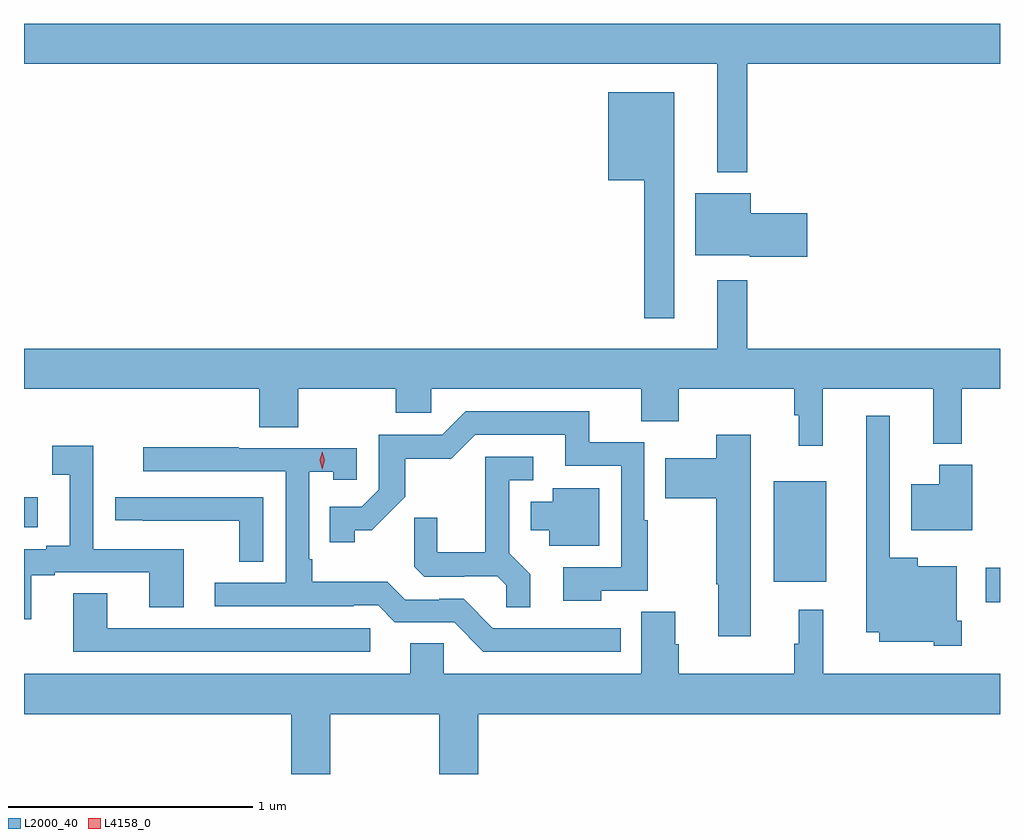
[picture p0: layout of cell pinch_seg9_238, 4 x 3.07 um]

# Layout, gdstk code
import gdstk
lib = gdstk.Library(unit=1e-6, precision=1e-09)
def R(c, l, rs):  # rectangles x0, y0, x1, y1
    for r in rs: c.add(gdstk.rectangle(r[:2], r[2:], *l))
def P(c, l, *ps):  # polygons
    for p in ps: c.add(gdstk.Polygon(p, *l))
L2000_40 = (2000, 40)
L4158_0 = (4158, 0)

pinch_seg9_238 = lib.new_cell('pinch_seg9_238')
R(pinch_seg9_238, L2000_40, [(416.64,1242.166,416.699,1242.308), (415.772,1242.251,415.987,1242.661), (412.699,1242.473,412.756,1242.597)])
P(pinch_seg9_238, L2000_40, [(415.663,1244.372),(416.699,1244.372),(416.699,1244.536),(412.699,1244.536),(412.699,1244.372),(415.541,1244.372),(415.541,1243.928),(415.663,1243.928)],
  [(415.363,1244.257),(415.094,1244.257),(415.094,1243.895),(415.242,1243.895),(415.242,1243.329),(415.363,1243.329)],
  [(415.909,1243.76),(415.678,1243.76),(415.678,1243.843),(415.451,1243.843),(415.451,1243.589),(415.674,1243.589),(415.674,1243.582),(415.909,1243.582)],
  [(415.973,1243.04),(416.426,1243.04),(416.426,1242.815),(416.543,1242.815),(416.543,1243.04),(416.699,1243.04),(416.699,1243.204),(415.663,1243.204),(415.663,1243.486),(415.541,1243.486),(415.541,1243.204),(412.699,1243.204),(412.699,1243.04),(413.663,1243.04),(413.663,1242.883),(413.823,1242.883),(413.823,1243.04),(414.223,1243.04),(414.223,1242.942),(414.369,1242.942),(414.369,1243.04),(415.229,1243.04),(415.229,1242.907),(415.382,1242.907),(415.382,1243.04),(415.855,1243.04),(415.855,1242.932),(415.874,1242.932),(415.874,1242.807),(415.973,1242.807)],
  [(415.065,1242.213),(415.255,1242.213),(415.255,1242.503),(415.242,1242.503),(415.242,1242.822),(415.016,1242.822),(415.016,1242.948),(414.51,1242.948),(414.414,1242.852),(414.153,1242.852),(414.153,1242.627),(414.084,1242.558),(413.953,1242.558),(413.953,1242.411),(414.054,1242.411),(414.054,1242.461),(414.124,1242.461),(414.262,1242.598),(414.262,1242.754),(414.451,1242.754),(414.549,1242.852),(414.917,1242.852),(414.917,1242.726),(415.146,1242.726),(415.146,1242.309),(414.909,1242.309),(414.909,1242.173),(415.065,1242.173)],
  [(416.543,1242.091),(416.521,1242.091),(416.521,1242.313),(416.362,1242.313),(416.362,1242.349),(416.247,1242.349),(416.247,1242.931),(416.15,1242.931),(416.15,1242.044),(416.204,1242.044),(416.204,1242.005),(416.427,1242.005),(416.427,1241.987),(416.543,1241.987)],
  [(415.678,1242.853),(415.537,1242.853),(415.537,1242.757),(415.327,1242.757),(415.327,1242.592),(415.537,1242.592),(415.537,1242.239),(415.544,1242.239),(415.544,1242.027),(415.678,1242.027)],
  [(412.729,1242.276),(412.825,1242.276),(412.825,1242.288),(413.213,1242.288),(413.213,1242.145),(413.353,1242.145),(413.353,1242.384),(412.983,1242.384),(412.983,1242.808),(412.815,1242.808),(412.815,1242.688),(412.886,1242.688),(412.886,1242.397),(412.79,1242.397),(412.79,1242.384),(412.699,1242.384),(412.699,1242.096),(412.729,1242.096)],
  [(415.144,1242.06),(414.621,1242.06),(414.501,1242.18),(414.4,1242.18),(414.4,1242.177),(414.261,1242.177),(414.188,1242.25),(413.881,1242.25),(413.881,1242.343),(413.868,1242.343),(413.868,1242.701),(413.967,1242.701),(413.967,1242.669),(414.063,1242.669),(414.063,1242.798),(413.579,1242.798),(413.579,1242.801),(413.187,1242.801),(413.187,1242.702),(413.772,1242.702),(413.772,1242.246),(413.481,1242.246),(413.481,1242.15),(414.05,1242.15),(414.05,1242.153),(414.15,1242.153),(414.219,1242.084),(414.462,1242.084),(414.582,1241.964),(415.144,1241.964)],
  [(414.773,1242.281),(414.687,1242.367),(414.687,1242.666),(414.787,1242.666),(414.787,1242.762),(414.59,1242.762),(414.59,1242.37),(414.392,1242.37),(414.392,1242.513),(414.298,1242.513),(414.298,1242.311),(414.339,1242.27),(414.504,1242.27),(414.504,1242.273),(414.638,1242.273),(414.675,1242.236),(414.675,1242.145),(414.773,1242.145)],
  [(416.585,1242.73),(416.45,1242.73),(416.45,1242.649),(416.336,1242.649),(416.336,1242.461),(416.585,1242.461)],
  [(415.057,1242.634),(414.866,1242.634),(414.866,1242.577),(414.776,1242.577),(414.776,1242.461),(414.851,1242.461),(414.851,1242.398),(415.057,1242.398)],
  [(413.679,1242.597),(413.073,1242.597),(413.073,1242.502),(413.185,1242.502),(413.185,1242.501),(413.581,1242.501),(413.581,1242.331),(413.679,1242.331)],
  [(414.118,1242.06),(413.041,1242.06),(413.041,1242.203),(412.901,1242.203),(412.901,1241.964),(414.118,1241.964)],
  [(416.699,1241.872),(415.974,1241.872),(415.974,1242.136),(415.874,1242.136),(415.874,1241.996),(415.855,1241.996),(415.855,1241.872),(415.382,1241.872),(415.382,1241.994),(415.369,1241.994),(415.369,1242.128),(415.229,1242.128),(415.229,1241.872),(414.42,1241.872),(414.42,1241.999),(414.281,1241.999),(414.281,1241.872),(412.699,1241.872),(412.699,1241.708),(413.795,1241.708),(413.795,1241.462),(413.955,1241.462),(413.955,1241.708),(414.4,1241.708),(414.4,1241.462),(414.56,1241.462),(414.56,1241.708),(416.699,1241.708)])
P(pinch_seg9_238, L4158_0, [(413.922,1242.711),(413.922,1242.711),(413.912,1242.747),(413.922,1242.783),(413.922,1242.783),(413.922,1242.783),(413.932,1242.747),(413.922,1242.711)])

lib.write_gds('pinch_seg9_238.gds')
